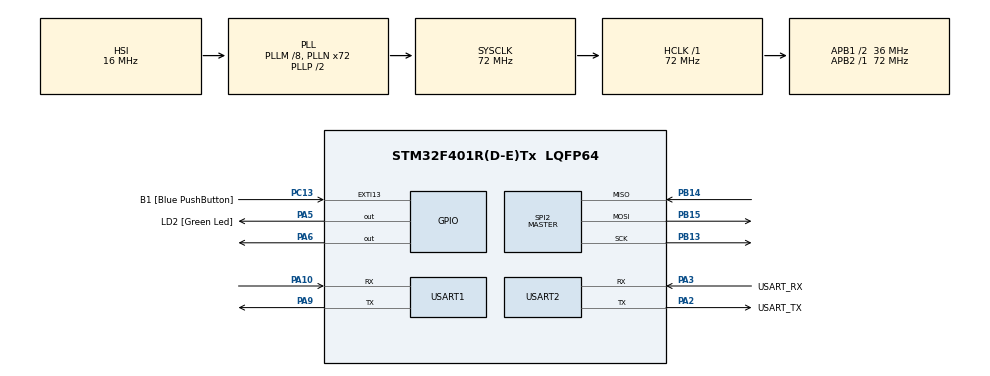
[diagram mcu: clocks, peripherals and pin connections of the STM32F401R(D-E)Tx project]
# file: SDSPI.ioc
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FATFS._MAX_SS=4096
FATFS._USE_LFN=1
Mcu.Family=STM32F4
Mcu.Name=STM32F401R(D-E)Tx
Mcu.Package=LQFP64
NVIC.PriorityGroup=NVIC_PRIORITYGROUP_0
PA10.Mode=Asynchronous
PA10.Signal=USART1_RX
PA13.GPIO_Label=TMS
PA13.Mode=Serial_Wire
PA13.Signal=SYS_JTMS-SWDIO
PA14.GPIO_Label=TCK
PA14.Mode=Serial_Wire
PA14.Signal=SYS_JTCK-SWCLK
PA2.GPIO_Label=USART_TX
PA2.GPIO_Mode=GPIO_MODE_AF_PP
PA2.GPIO_PuPd=GPIO_NOPULL
PA2.GPIO_Speed=GPIO_SPEED_FREQ_LOW
PA2.Mode=Asynchronous
PA2.Signal=USART2_TX
PA3.GPIO_Label=USART_RX
PA3.GPIO_Mode=GPIO_MODE_AF_PP
PA3.GPIO_PuPd=GPIO_NOPULL
PA3.GPIO_Speed=GPIO_SPEED_FREQ_LOW
PA3.Mode=Asynchronous
PA3.Signal=USART2_RX
PA5.GPIO_Label=LD2 [Green Led]
PA5.GPIO_Mode=GPIO_MODE_OUTPUT_PP
PA5.GPIO_PuPd=GPIO_NOPULL
PA5.GPIO_Speed=GPIO_SPEED_FREQ_LOW
PA5.Signal=GPIO_Output
PA6.Signal=GPIO_Output
PA9.Mode=Asynchronous
PA9.Signal=USART1_TX
PB13.Mode=Full_Duplex_Master
PB13.Signal=SPI2_SCK
PB14.Mode=Full_Duplex_Master
PB14.Signal=SPI2_MISO
PB15.Mode=Full_Duplex_Master
PB15.Signal=SPI2_MOSI
PB3.GPIO_Label=SWO
PB3.Signal=SYS_JTDO-SWO
PC13-ANTI_TAMP.GPIO_Label=B1 [Blue PushButton]
PC13-ANTI_TAMP.GPIO_ModeDefaultEXTI=GPIO_MODE_IT_FALLING
PC13-ANTI_TAMP.GPIO_PuPd=GPIO_NOPULL
PC13-ANTI_TAMP.Signal=GPXTI13
PC14-OSC32_IN.Mode=LSE-External-Oscillator
PC14-OSC32_IN.Signal=RCC_OSC32_IN
PC15-OSC32_OUT.Mode=LSE-External-Oscillator
PC15-OSC32_OUT.Signal=RCC_OSC32_OUT
PH0\ -\ OSC_IN.Mode=HSE-External-Oscillator
PH0\ -\ OSC_IN.Signal=RCC_OSC_IN
PH1\ -\ OSC_OUT.Mode=HSE-External-Oscillator
PH1\ -\ OSC_OUT.Signal=RCC_OSC_OUT
ProjectManager.HeapSize=0x200
ProjectManager.StackSize=0x400
ProjectManager.TargetToolchain=STM32CubeIDE
RCC.48MHZClocksFreq_Value=20571428.57142857
RCC.AHBFreq_Value=72000000
RCC.APB1CLKDivider=RCC_HCLK_DIV2
RCC.APB1Freq_Value=36000000
RCC.APB1TimFreq_Value=72000000
RCC.APB2Freq_Value=72000000
RCC.APB2TimFreq_Value=72000000
RCC.CortexFreq_Value=72000000
RCC.HCLKFreq_Value=72000000
RCC.HSE_VALUE=8000000
RCC.HSI_VALUE=16000000
RCC.PLLM=8
RCC.PLLN=72
RCC.PLLQ=7
RCC.SYSCLKFreq_VALUE=72000000
RCC.SYSCLKSource=RCC_SYSCLKSOURCE_PLLCLK
RCC.VCOOutputFreq_Value=144000000
SPI2.BaudRatePrescaler=SPI_BAUDRATEPRESCALER_8
SPI2.Direction=SPI_DIRECTION_2LINES
SPI2.Mode=SPI_MODE_MASTER
SPI2.VirtualType=VM_MASTER
USART1.VirtualMode=VM_ASYNC
USART2.VirtualMode=VM_ASYNC
VP_FATFS_VS_Generic.Mode=User_defined
board=NUCLEO-F401RE

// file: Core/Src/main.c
/* USER CODE BEGIN Header */
/**
  ******************************************************************************
  * @file           : main.c
  * @brief          : Main program body
  ******************************************************************************
  * @attention
  *
  * Copyright (c) 2023 STMicroelectronics.
  * All rights reserved.
  *
  * This software is licensed under terms that can be found in the LICENSE file
  * in the root directory of this software component.
  * If no LICENSE file comes with this software, it is provided AS-IS.
  *
  ******************************************************************************
  */

/* USER CODE END Header */
#include "main.h"
#include "fatfs.h"

/* USER CODE BEGIN Includes */
#include "fatfs_sd.h"
#include <stdio.h>
#include "string.h"
/* USER CODE END Includes */

SPI_HandleTypeDef hspi2;

UART_HandleTypeDef huart1;
UART_HandleTypeDef huart2;

void SystemClock_Config(void);
static void MX_GPIO_Init(void);
static void MX_USART2_UART_Init(void);
static void MX_SPI2_Init(void);
static void MX_USART1_UART_Init(void);

/* USER CODE BEGIN 0 */
//Weak function from syscalls overwritten to print to console using UART
int _write(int file, char *ptr, int len)
{
	HAL_UART_Transmit(&huart2, (uint8_t*)ptr, len, HAL_MAX_DELAY);
	return len;
}

//Function to find the size of the buffer
int bufsize(char *buf)
{
	int i = 0;
	while(*buf++ != '\0') i++;
	return i;
}

char buffer[1024];

//Function to clear the buffer
void bufclear(void)
{
	for(int i = 0; i<1024; i++)
	{
		buffer[i] = '\0';
	}
}

FATFS fs;
FIL fil;
FRESULT fresult;

UINT br, bw;

FATFS *pfs;
DWORD fre_clust;
uint32_t total, free_space;
/* USER CODE END 0 */

int main(void)
{

  /* MCU Configuration--------------------------------------------------------*/

  /* Reset of all peripherals, Initializes the Flash interface and the Systick. */
  HAL_Init();

  /* Configure the system clock */
  SystemClock_Config();

  /* Initialize all configured peripherals */
  MX_GPIO_Init();
  MX_USART2_UART_Init();
  MX_SPI2_Init();
  MX_USART1_UART_Init();
  MX_FATFS_Init();
  /* USER CODE BEGIN 2 */

  //Mounting the SD card
  fresult = f_mount(&fs, "/", 1);
  if (fresult == FR_OK)
  {
	  printf("Mounting Unsuccessful\n");
  }
  else
  {
	  printf("SD CARD mounted successfully\n");
  }

  //Creating a file with name ESD.txt
  fresult = f_open(&fil, "ESD.txt", FA_CREATE_ALWAYS | FA_WRITE);

  //Copying the text to be added in the txt file to the buffer
  strcpy (buffer, "This is the data written in the file.");

  //Writing in the file and closing it
  fresult = f_write(&fil, buffer, bufsize(buffer), &bw);
  f_close(&fil);

  //Opening the txt file.
  fresult = f_open(&fil, "ESD.txt", FA_READ);
  if (fresult != FR_OK)
  {
	  printf ("The file is open\n");
  }

  //Reading the txt file
  f_read (&fil, buffer, f_size(&fil), &br);
  printf(buffer);
  printf("\n");

  //Closing the file
  f_close(&fil);
  /* USER CODE END 2 */

  /* Infinite loop */
  while (1)
  {

  }
}

void SystemClock_Config(void)
{
  RCC_OscInitTypeDef RCC_OscInitStruct = {0};
  RCC_ClkInitTypeDef RCC_ClkInitStruct = {0};

  /** Configure the main internal regulator output voltage
  */
  __HAL_RCC_PWR_CLK_ENABLE();
  __HAL_PWR_VOLTAGESCALING_CONFIG(PWR_REGULATOR_VOLTAGE_SCALE2);

  /** Initializes the RCC Oscillators according to the specified parameters
  * in the RCC_OscInitTypeDef structure.
  */
  RCC_OscInitStruct.OscillatorType = RCC_OSCILLATORTYPE_HSI;
  RCC_OscInitStruct.HSIState = RCC_HSI_ON;
  RCC_OscInitStruct.HSICalibrationValue = RCC_HSICALIBRATION_DEFAULT;
  RCC_OscInitStruct.PLL.PLLState = RCC_PLL_ON;
  RCC_OscInitStruct.PLL.PLLSource = RCC_PLLSOURCE_HSI;
  RCC_OscInitStruct.PLL.PLLM = 8;
  RCC_OscInitStruct.PLL.PLLN = 72;
  RCC_OscInitStruct.PLL.PLLP = RCC_PLLP_DIV2;
  RCC_OscInitStruct.PLL.PLLQ = 7;
  if (HAL_RCC_OscConfig(&RCC_OscInitStruct) != HAL_OK)
  {
    Error_Handler();
  }

  /** Initializes the CPU, AHB and APB buses clocks
  */
  RCC_ClkInitStruct.ClockType = RCC_CLOCKTYPE_HCLK|RCC_CLOCKTYPE_SYSCLK
                              |RCC_CLOCKTYPE_PCLK1|RCC_CLOCKTYPE_PCLK2;
  RCC_ClkInitStruct.SYSCLKSource = RCC_SYSCLKSOURCE_PLLCLK;
  RCC_ClkInitStruct.AHBCLKDivider = RCC_SYSCLK_DIV1;
  RCC_ClkInitStruct.APB1CLKDivider = RCC_HCLK_DIV2;
  RCC_ClkInitStruct.APB2CLKDivider = RCC_HCLK_DIV1;

  if (HAL_RCC_ClockConfig(&RCC_ClkInitStruct, FLASH_LATENCY_2) != HAL_OK)
  {
    Error_Handler();
  }
}

static void MX_SPI2_Init(void)
{

  /* SPI2 parameter configuration*/
  hspi2.Instance = SPI2;
  hspi2.Init.Mode = SPI_MODE_MASTER;
  hspi2.Init.Direction = SPI_DIRECTION_2LINES;
  hspi2.Init.DataSize = SPI_DATASIZE_8BIT;
  hspi2.Init.CLKPolarity = SPI_POLARITY_LOW;
  hspi2.Init.CLKPhase = SPI_PHASE_1EDGE;
  hspi2.Init.NSS = SPI_NSS_SOFT;
  hspi2.Init.BaudRatePrescaler = SPI_BAUDRATEPRESCALER_8;
  hspi2.Init.FirstBit = SPI_FIRSTBIT_MSB;
  hspi2.Init.TIMode = SPI_TIMODE_DISABLE;
  hspi2.Init.CRCCalculation = SPI_CRCCALCULATION_DISABLE;
  hspi2.Init.CRCPolynomial = 10;
  if (HAL_SPI_Init(&hspi2) != HAL_OK)
  {
    Error_Handler();
  }

}

static void MX_USART1_UART_Init(void)
{

  huart1.Instance = USART1;
  huart1.Init.BaudRate = 115200;
  huart1.Init.WordLength = UART_WORDLENGTH_8B;
  huart1.Init.StopBits = UART_STOPBITS_1;
  huart1.Init.Parity = UART_PARITY_NONE;
  huart1.Init.Mode = UART_MODE_TX_RX;
  huart1.Init.HwFlowCtl = UART_HWCONTROL_NONE;
  huart1.Init.OverSampling = UART_OVERSAMPLING_16;
  if (HAL_UART_Init(&huart1) != HAL_OK)
  {
    Error_Handler();
  }

}

static void MX_USART2_UART_Init(void)
{

  huart2.Instance = USART2;
  huart2.Init.BaudRate = 115200;
  huart2.Init.WordLength = UART_WORDLENGTH_8B;
  huart2.Init.StopBits = UART_STOPBITS_1;
  huart2.Init.Parity = UART_PARITY_NONE;
  huart2.Init.Mode = UART_MODE_TX_RX;
  huart2.Init.HwFlowCtl = UART_HWCONTROL_NONE;
  huart2.Init.OverSampling = UART_OVERSAMPLING_16;
  if (HAL_UART_Init(&huart2) != HAL_OK)
  {
    Error_Handler();
  }

}

static void MX_GPIO_Init(void)
{
  GPIO_InitTypeDef GPIO_InitStruct = {0};

  /* GPIO Ports Clock Enable */
  __HAL_RCC_GPIOC_CLK_ENABLE();
  __HAL_RCC_GPIOH_CLK_ENABLE();
  __HAL_RCC_GPIOA_CLK_ENABLE();
  __HAL_RCC_GPIOB_CLK_ENABLE();

  /*Configure GPIO pin Output Level */
  HAL_GPIO_WritePin(GPIOA, LD2_Pin|GPIO_PIN_6, GPIO_PIN_RESET);

  /*Configure GPIO pin : B1_Pin */
  GPIO_InitStruct.Pin = B1_Pin;
  GPIO_InitStruct.Mode = GPIO_MODE_IT_FALLING;
  GPIO_InitStruct.Pull = GPIO_NOPULL;
  HAL_GPIO_Init(B1_GPIO_Port, &GPIO_InitStruct);

  /*Configure GPIO pins : LD2_Pin PA6 */
  GPIO_InitStruct.Pin = LD2_Pin|GPIO_PIN_6;
  GPIO_InitStruct.Mode = GPIO_MODE_OUTPUT_PP;
  GPIO_InitStruct.Pull = GPIO_NOPULL;
  GPIO_InitStruct.Speed = GPIO_SPEED_FREQ_LOW;
  HAL_GPIO_Init(GPIOA, &GPIO_InitStruct);

}

void Error_Handler(void)
{
  __disable_irq();
  while (1)
  {
  }
}
